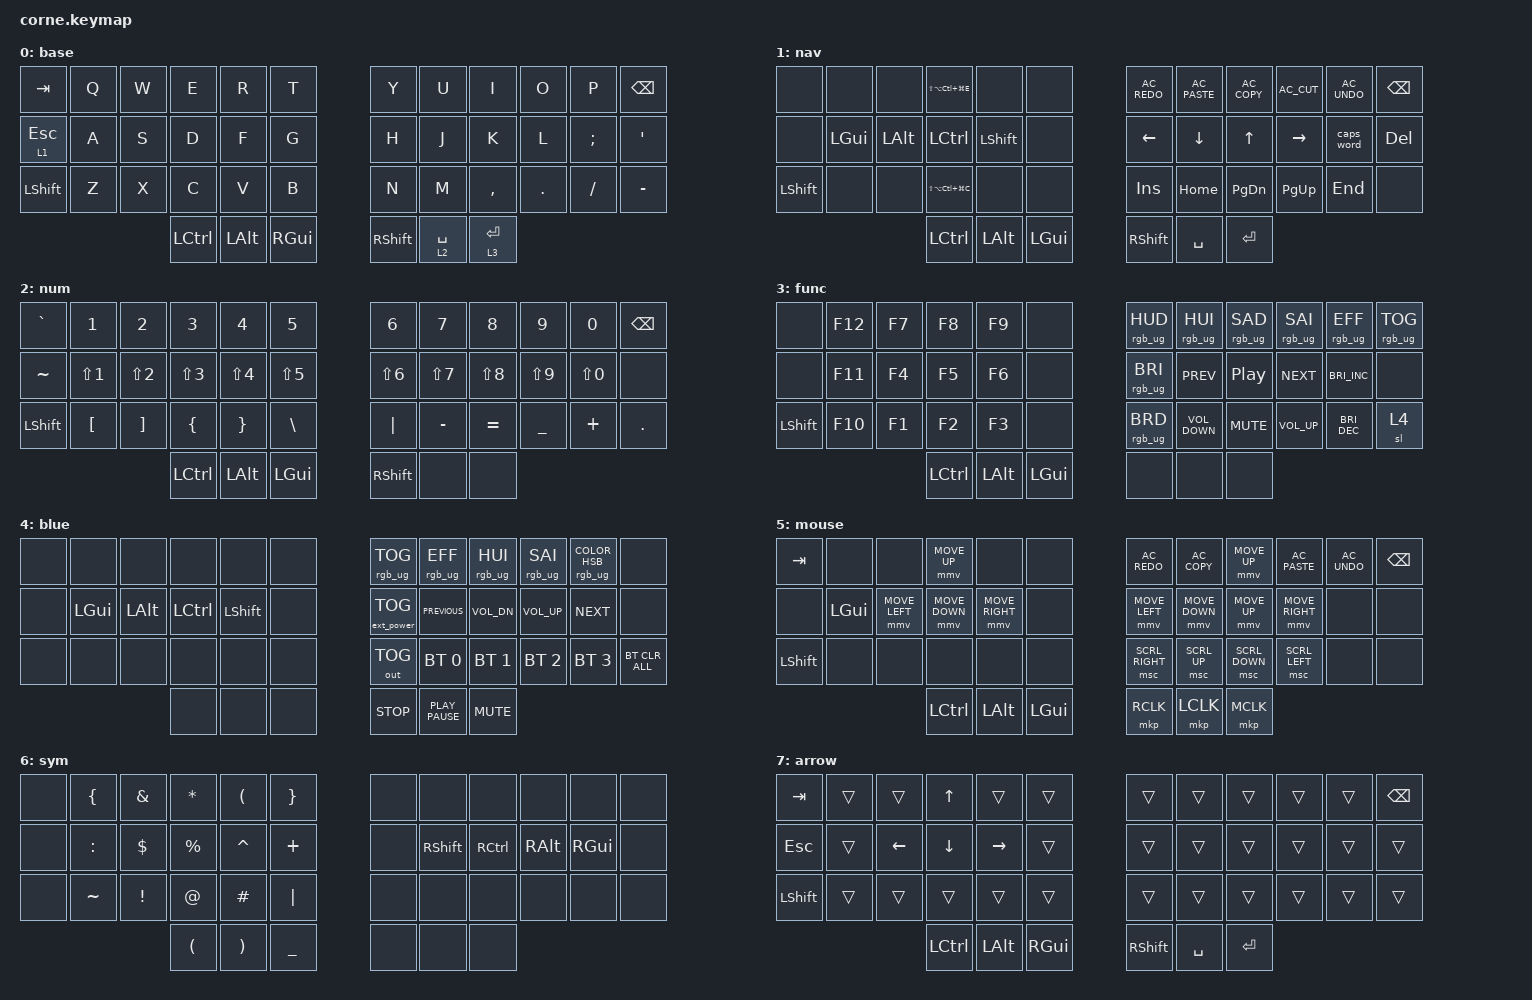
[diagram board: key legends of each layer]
/*
 * Copyright (c) 2020 The ZMK Contributors
 *
 * SPDX-License-Identifier: MIT
 */

#include <behaviors.dtsi>
#include <dt-bindings/zmk/bt.h>
#include <dt-bindings/zmk/ext_power.h>
#include <dt-bindings/zmk/keys.h>
#include <dt-bindings/zmk/outputs.h>
#include <dt-bindings/zmk/pointing.h>
#include <dt-bindings/zmk/rgb.h>

/ {
    behaviors {
        hm: homerow_mods {
            compatible = "zmk,behavior-hold-tap";
            label = "HOMEROW_MODS";
            #binding-cells = <2>;
            tapping-term-ms = <200>;
            quick_tap_ms = <0>;
            flavor = "tap-preferred";
            bindings = <&kp>, <&kp>;

            quick-tap-ms = <180>;
            global-quick-tap;
        };

        ltq: ltq {
            compatible = "zmk,behavior-hold-tap";
            label = "LTQ";
            bindings = <&mo>, <&kp>;

            #binding-cells = <2>;
            tapping-term-ms = <600>;
            global-quick-tap;
            quick-tap-ms = <400>;
        };
    };

    combos {
        compatible = "zmk,combos";

        Mouse {
            bindings = <&to 5>;
            key-positions = <19 20 21>;
            layers = <0>;
        };

        mouse-off {
            bindings = <&to 0>;
            key-positions = <19 20 21>;
            layers = <5>;
        };

        right-thumb {
            bindings = <&kp RIGHT_ALT>;
            key-positions = <40 41>;
        };
    };

    macros {
        chrome: chrome {
            compatible = "zmk,behavior-macro";
            #binding-cells = <0>;
            bindings = <&none &kp LS(LA(LC(LG(C))))>;
            label = "CHROME";
        };
    };

    keymap {
        compatible = "zmk,keymap";

        base {
            bindings = <
&kp TAB       &kp Q  &kp W  &kp E             &kp R         &kp T          &kp Y            &kp U        &kp I        &kp O    &kp P          &kp BSPC
&lt 1 ESCAPE  &kp A  &kp S  &kp D             &kp F         &kp G          &kp H            &kp J        &kp K        &kp L    &kp SEMICOLON  &kp SQT
&kp LSHFT     &kp Z  &kp X  &kp C             &kp V         &kp B          &kp N            &kp M        &kp COMMA    &kp DOT  &kp FSLH       &kp MINUS
                            &kp LEFT_CONTROL  &kp LEFT_ALT  &kp RIGHT_GUI  &kp RIGHT_SHIFT  &lt 2 SPACE  &lt 3 ENTER
            >;
        };

        nav {
            bindings = <
&none           &none         &none         &kp LS(LA(LC(LG(E))))  &none           &none         &kp C_AC_REDO    &kp C_AC_PASTE  &kp C_AC_COPY  &kp C_AC_CUT     &kp C_AC_UNDO  &kp BACKSPACE
&none           &kp LEFT_GUI  &kp LEFT_ALT  &kp LEFT_CONTROL       &kp LEFT_SHIFT  &none         &kp LEFT_ARROW   &kp DOWN_ARROW  &kp UP_ARROW   &kp RIGHT_ARROW  &caps_word     &kp DELETE
&kp LEFT_SHIFT  &none         &none         &kp LS(LA(LC(LG(C))))  &none           &none         &kp INSERT       &kp HOME        &kp PAGE_DOWN  &kp PAGE_UP      &kp END        &none
                                            &kp LEFT_CONTROL       &kp LEFT_ALT    &kp LEFT_GUI  &kp RIGHT_SHIFT  &kp SPACE       &kp ENTER
            >;
        };

        num {
            bindings = <
&kp GRAVE       &kp NUMBER_1      &kp NUMBER_2       &kp NUMBER_3      &kp NUMBER_4      &kp N5            &kp NUMBER_6      &kp NUMBER_7      &kp NUMBER_8      &kp NUMBER_9      &kp NUMBER_0      &kp BACKSPACE
&kp TILDE       &kp LS(NUMBER_1)  &kp LS(NUMBER_2)   &kp LS(NUMBER_3)  &kp LS(NUMBER_4)  &kp LS(NUMBER_5)  &kp LS(NUMBER_6)  &kp LS(NUMBER_7)  &kp LS(NUMBER_8)  &kp LS(NUMBER_9)  &kp LS(NUMBER_0)  &none
&kp LEFT_SHIFT  &kp LEFT_BRACKET  &kp RIGHT_BRACKET  &kp LEFT_BRACE    &kp RIGHT_BRACE   &kp BSLH          &kp PIPE          &kp MINUS         &kp EQUAL         &kp UNDER         &kp PLUS          &kp DOT
                                                     &kp LEFT_CONTROL  &kp LEFT_ALT      &kp LEFT_GUI      &kp RIGHT_SHIFT   &none             &none
            >;
        };

        func {
            bindings = <
&none           &kp F12  &kp F7  &kp F8            &kp F9        &none         &rgb_ug RGB_HUD  &rgb_ug RGB_HUI    &rgb_ug RGB_SAD   &rgb_ug RGB_SAI  &rgb_ug RGB_EFF       &rgb_ug RGB_TOG
&none           &kp F11  &kp F4  &kp F5            &kp F6        &none         &rgb_ug RGB_BRI  &kp C_PREV         &kp C_PLAY_PAUSE  &kp C_NEXT       &kp C_BRIGHTNESS_INC  &none
&kp LEFT_SHIFT  &kp F10  &kp F1  &kp F2            &kp F3        &none         &rgb_ug RGB_BRD  &kp K_VOLUME_DOWN  &kp K_MUTE        &kp K_VOL_UP     &kp C_BRIGHTNESS_DEC  &sl 4
                                 &kp LEFT_CONTROL  &kp LEFT_ALT  &kp LEFT_GUI  &none            &none              &none
            >;
        };

        blue {
            bindings = <
&none  &none         &none         &none             &none           &none  &rgb_ug RGB_TOG    &rgb_ug RGB_EFF   &rgb_ug RGB_HUI  &rgb_ug RGB_SAI  &rgb_ug RGB_COLOR_HSB(275,100,50)  &none
&none  &kp LEFT_GUI  &kp LEFT_ALT  &kp LEFT_CONTROL  &kp LEFT_SHIFT  &none  &ext_power EP_TOG  &kp C_PREVIOUS    &kp C_VOL_DN     &kp C_VOL_UP     &kp C_NEXT                         &none
&none  &none         &none         &none             &none           &none  &out OUT_TOG       &bt BT_SEL 0      &bt BT_SEL 1     &bt BT_SEL 2     &bt BT_SEL 3                       &bt BT_CLR_ALL
                                   &none             &none           &none  &kp K_STOP         &kp K_PLAY_PAUSE  &kp K_MUTE
            >;
        };

        mouse {
            bindings = <
&kp TAB         &none         &none           &mmv MOVE_UP      &none            &none         &kp C_AC_REDO    &kp C_AC_COPY   &mmv MOVE_UP    &kp C_AC_PASTE   &kp C_AC_UNDO  &kp BACKSPACE
&none           &kp LEFT_GUI  &mmv MOVE_LEFT  &mmv MOVE_DOWN    &mmv MOVE_RIGHT  &none         &mmv MOVE_LEFT   &mmv MOVE_DOWN  &mmv MOVE_UP    &mmv MOVE_RIGHT  &none          &none
&kp LEFT_SHIFT  &none         &none           &none             &none            &none         &msc SCRL_RIGHT  &msc SCRL_UP    &msc SCRL_DOWN  &msc SCRL_LEFT   &none          &none
                                              &kp LEFT_CONTROL  &kp LEFT_ALT     &kp LEFT_GUI  &mkp RCLK        &mkp LCLK       &mkp MCLK
            >;
        };

        sym {
            bindings = <
&none  &kp LEFT_BRACE  &kp AMPERSAND    &kp ASTERISK          &kp LEFT_PARENTHESIS   &kp RIGHT_BRACE  &none  &none      &none      &none     &none     &none
&none  &kp COLON       &kp DOLLAR       &kp PERCENT           &kp CARET              &kp PLUS         &none  &kp RSHFT  &kp RCTRL  &kp RALT  &kp RGUI  &none
&none  &kp TILDE       &kp EXCLAMATION  &kp AT_SIGN           &kp HASH               &kp PIPE         &none  &none      &none      &none     &none     &none
                                        &kp LEFT_PARENTHESIS  &kp RIGHT_PARENTHESIS  &kp UNDERSCORE   &none  &none      &none
            >;
        };

        arrow {
            bindings = <
&kp TAB         &trans  &trans          &kp UP_ARROW      &trans           &trans         &trans           &trans     &trans     &trans  &trans  &kp BACKSPACE
&kp ESCAPE      &trans  &kp LEFT_ARROW  &kp DOWN_ARROW    &kp RIGHT_ARROW  &trans         &trans           &trans     &trans     &trans  &trans  &trans
&kp LEFT_SHIFT  &trans  &trans          &trans            &trans           &trans         &trans           &trans     &trans     &trans  &trans  &trans
                                        &kp LEFT_CONTROL  &kp LEFT_ALT     &kp RIGHT_GUI  &kp RIGHT_SHIFT  &kp SPACE  &kp ENTER
            >;
        };
    };
};
